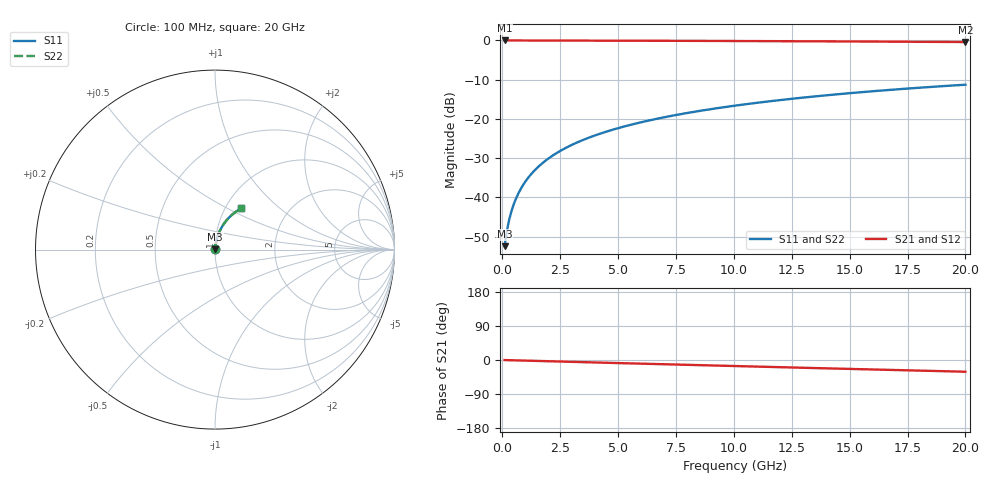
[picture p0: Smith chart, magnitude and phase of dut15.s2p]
! Touchstone file exported from HFSS 2026.1.0
!  File:  C:/ffzhzh/LocalFiles/Ansys_Project_Files/temp_test_TMRDL_15_1782907082_46784.aedt
!  Generated:  07:59:19 PM Jul  1, 2026
!  Design:  TMRDL
!  Project:  temp_test_TMRDL_15_1782907082_46784
! Variables:
!  h_bsmrdl = 2um
!  h_ox = 20um
!  h_rdl = 5um
!  h_sub = 80um
!  h_tmrdl = 5.4um
!  h_tsv = 80um
!  h_via = 3um
!  l_bsmrdl = 300um
!  l_sub = 856.16um
!  l_tmrdl = 456.16um
!  m_sub = 200um
!  pitch = 42.51um
!  r_tsv = 6um
!  s_tmrdl = 10um
!  w_bsmrdl = 18um
!  w_sub = 500um
!  w_tmrdl = 19.55um
!  x_tsv_center1 = 465.935um
!  x_tsv_center2 = 783.935um
!  x_tsv_center3 = 1259.645um
!  x_tsv_center4 = 1577.645um
!  x_tsv_center5 = 2053.355um
!  x_tsv_center6 = 2371.355um
# GHz S MA R 50.000000
! Terminal data exported
! Port[1] = TM_RDL1_1_T1
! Port[2] = TM_RDL1_1_T2
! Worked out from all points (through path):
!   200 points, 100 MHz to 20 GHz, reference 50 ohm
!   highest |S21| = -0.01 dB at 100 MHz (marker M1); lowest = -0.4 dB at 20 GHz (marker M2)
!   group delay of S21, straight-line fit = 4.29 ps
!   lowest |S11| = -52.4 dB at 100 MHz (marker M3), VSWR 1.00, Z = 50.2 + j0.171 ohm
!   |S11| at or under -10 dB: start of sweep to end of sweep
!   |S22| runs from -52.4 to -11.3 dB; largest |S21 - S12| = 2.1e-15
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0.1  0.002392 45.4  0.9983 -0.2  0.9983 -0.2  0.002392 45.4
! Gamma 0 0 0 0
! Port Impedance 50 0 50 0
0.2  0.003777 61.6  0.9982 -0.3  0.9982 -0.3  0.003777 61.6
0.3  0.005246 68.8  0.9981 -0.5  0.9981 -0.5  0.005246 68.8
0.4  0.006742 72.8  0.9981 -0.7  0.9981 -0.7  0.006742 72.8
0.5  0.008256 75.5  0.998 -0.8  0.998 -0.8  0.008256 75.5
0.6  0.009784 77.3  0.998 -1.0  0.998 -1.0  0.009784 77.3
0.8  0.01286 79.5  0.9979 -1.3  0.9979 -1.3  0.01286 79.5
1.1  0.01751 81.1  0.9977 -1.8  0.9977 -1.8  0.01751 81.1
1.3  0.02061 81.6  0.9975 -2.1  0.9975 -2.1  0.02061 81.6
1.5  0.02371 81.8  0.9974 -2.5  0.9974 -2.5  0.02371 81.8
1.8  0.02834 82.0  0.9971 -3.0  0.9971 -3.0  0.02834 82.0
2.1  0.03295 81.9  0.9968 -3.4  0.9968 -3.4  0.03295 81.9
2.7  0.04209 81.4  0.9961 -4.4  0.9961 -4.4  0.04209 81.4
3.5  0.05412 80.5  0.995 -5.7  0.995 -5.7  0.05412 80.5
4.2  0.0645 79.6  0.994 -6.8  0.994 -6.8  0.0645 79.6
5  0.07622 78.6  0.9927 -8.1  0.9927 -8.1  0.07622 78.6
6.8  0.1021 76.1  0.9895 -10.9  0.9895 -10.9  0.1021 76.1
8.3  0.1233 74.0  0.9865 -13.3  0.9865 -13.3  0.1233 74.0
10.1  0.1482 71.4  0.9825 -16.1  0.9825 -16.1  0.1482 71.4
13.4  0.1922 66.7  0.974 -21.1  0.974 -21.1  0.1922 66.7
16.7  0.2338 61.9  0.9642 -26.1  0.9642 -26.1  0.2338 61.9
20  0.2727 57.2  0.9534 -31.0  0.9534 -31.0  0.2727 57.2
